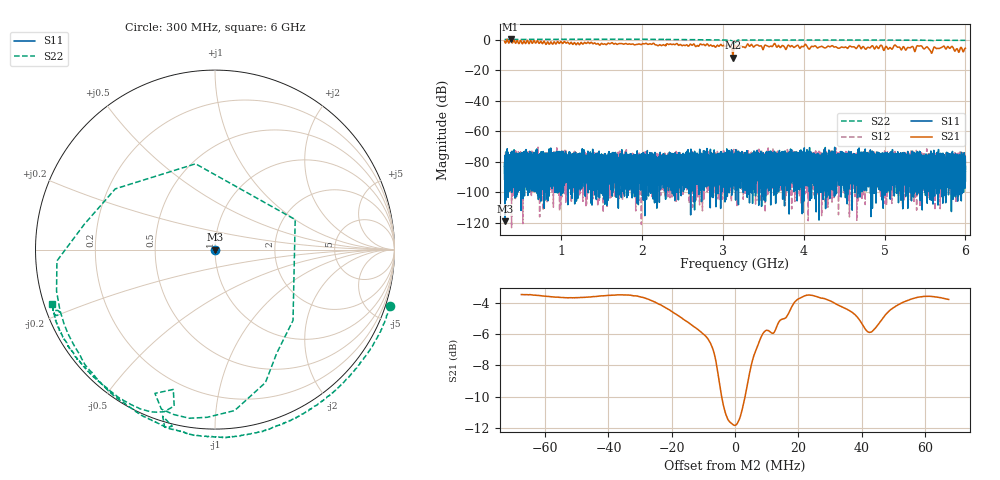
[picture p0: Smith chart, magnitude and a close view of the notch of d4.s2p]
!Agilent Technologies,N5230C,SG49000117,A.08.50.07
!Agilent N5230C: A.08.50.07
!Date: Sunday, March 17, 2024 01:21:53
!Correction: S11(Off)
!S21(Off)
!S12(Off)
!S22(Full 1 Port(2))
!S2P File: Measurements: S11, S21, S12, S22:
# Hz S  RI  R 50
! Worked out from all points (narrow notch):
!   20001 points, 300 MHz to 6 GHz, reference 50 ohm
!   highest |S21| = 0.45 dB at 373.5 MHz (marker M1); lowest = -11.9 dB at 3.124 GHz (marker M2)
!   notch at M2: 8.0 dB deep, 11.3 MHz wide at half that depth
!   lowest |S11| = -119.2 dB at 306.8 MHz (marker M3), VSWR 1.00, Z = 50 - j1.38e-05 ohm
!   |S11| at or under -10 dB: start of sweep to end of sweep
!   |S22| runs from -6.7 to 0.4 dB; largest |S21 - S12| = 1.1
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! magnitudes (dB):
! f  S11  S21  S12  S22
! 300 MHz  -80.8  -1.0  -83.6  0.2
! 306.8 MHz  -119.2  -2.0  -84.9  0.2
! 373.5 MHz  -85.2  0.4  -84.2  0.2
! 1.25 GHz  -82.0  -1.8  -89.9  0.4
! 2.2 GHz  -87.2  -3.9  -81.9  0.3
! 3.072 GHz  -85.5  -3.7  -85.5  -0.3
! 3.124 GHz  -80.2  -11.9  -82.7  -4.0
! 3.15 GHz  -78.8  -3.6  -86.4  -0.6
! 3.2 GHz  -82.4  -4.2  -90.6  -0.2
! 3.328 GHz  -94.8  -4.2  -98.4  -0.2
! 3.483 GHz  -82.2  -4.9  -74.6  -0.2
! 3.632 GHz  -82.6  -2.7  -86.6  -0.2
! 3.772 GHz  -95.3  -5.8  -78.2  -0.2
! 4.1 GHz  -80.3  -4.3  -86.9  -0.2
! 5.05 GHz  -89.9  -6.0  -86.6  -0.2
! 5.135 GHz  -94.7  -3.6  -80.9  -0.2
! 5.369 GHz  -85.3  -7.2  -82.5  -0.3
! 5.429 GHz  -77.8  -4.2  -84.2  -0.3
! 5.574 GHz  -73.0  -8.2  -84.7  -0.4
! 5.718 GHz  -82.3  -4.6  -84.6  -0.3
! 5.896 GHz  -77.9  -5.9  -80.1  -0.4
! 6 GHz  -82.8  -5.5  -81.0  -0.4
